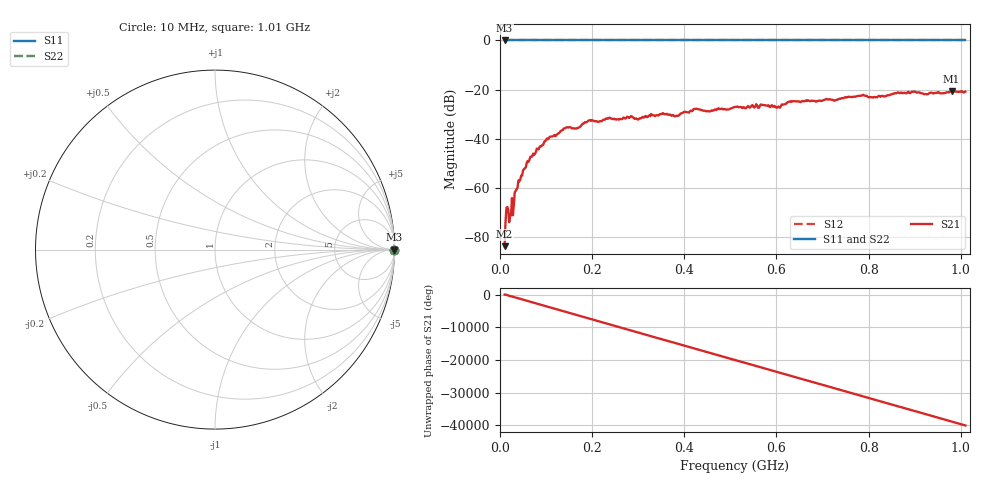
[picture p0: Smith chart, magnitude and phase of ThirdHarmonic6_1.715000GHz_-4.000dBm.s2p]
! 8/16/2025 8:37:54 PM
! C:\ANRITSUVNA\TEMP\TEMP.S2P
! CHANNEL.1
! TR.MEASUREMENT
! RAW.DATA
! RF.CORRECTION.OFF
! AVERAGING.OFF
! IF.BANDWIDTH: 5KHZ
! SWEEPTYPE:  FREQ.SWEEP(Linear)
! Reference Plane Port Info
! PORT:  PORT1  PORT2
! DISTANCE:  0  m  0  m
! TIME:  0  s  0  s
! PHASE.OFFSET:  0  deg.  0  deg.
! LOSS:  0  dB  0  dB
! REF.LOSS:  0  dB  0  dB
! REF.FREQ:  0  Hz  0  Hz
! Power Info
! POWER:  -20  dBm  -20  dBm
! EFF.POWER:  -20  dBm  -20  dBm
! SOURCE.ATTEN:  0  dB  0  dB
! TEST.ATTEN:  0  dB  0  dB
# GHZ S RI R 50.0
! FREQ.GHZ  S11RE  S11IM  S21RE  S21IM  S12RE  S12IM  S22RE  S22IM
!; PortSelection: Port_12
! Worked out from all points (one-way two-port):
!   501 points, 10 MHz to 1.01 GHz, reference 50 ohm
!   highest |S21| = -20.59 dB at 980 MHz (marker M1); lowest = -83.9 dB at 10 MHz (marker M2)
!   lowest |S11| = 0.0 dB at 10 MHz (marker M3)
!   |S11| at or under -10 dB: nowhere
!   |S22| runs from 0.0 to 0.0 dB; largest |S21 - S12| = 1.1
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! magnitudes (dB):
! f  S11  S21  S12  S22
! 10 MHz  0.0  -83.9  0.0  0.0
! 16 MHz  0.0  -67.9  0.0  0.0
! 24 MHz  0.0  -71.3  0.0  0.0
! 36 MHz  0.0  -60.7  0.0  0.0
! 54 MHz  0.0  -52.2  0.0  0.0
! 68 MHz  0.0  -47.3  0.0  0.0
! 106 MHz  0.0  -39.8  0.0  0.0
! 142 MHz  0.0  -35.7  0.0  0.0
! 166 MHz  0.0  -35.9  0.0  0.0
! 178 MHz  0.0  -34.3  0.0  0.0
! 196 MHz  0.0  -32.4  0.0  0.0
! 344 MHz  0.0  -30.6  0.0  0.0
! 382 MHz  0.0  -30.7  0.0  0.0
! 424 MHz  0.0  -27.9  0.0  0.0
! 452 MHz  0.0  -28.8  0.0  0.0
! 510 MHz  0.0  -27.1  0.0  0.0
! 604 MHz  0.0  -26.9  0.0  0.0
! 630 MHz  0.0  -24.8  0.0  0.0
! 678 MHz  0.0  -24.6  0.0  0.0
! 844 MHz  0.0  -22.4  0.0  0.0
! 980 MHz  0.0  -20.6  0.0  0.0
! 1.01 GHz  0.0  -20.9  0.0  0.0
